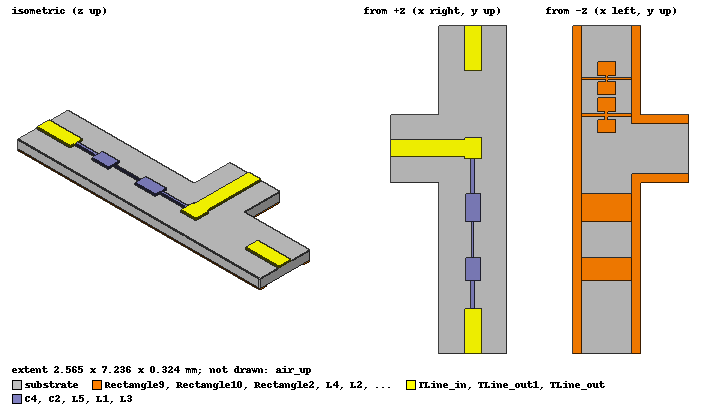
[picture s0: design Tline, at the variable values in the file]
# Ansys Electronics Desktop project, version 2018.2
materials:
  gallium_arsenide: permittivity=12.9
  gold: permeability=0.99996 conductivity=41000000
  vacuum: permittivity=1
  Al_N: permittivity=8.8
  Al2_O3_ceramic: permittivity=9.9 dielectric_loss_tangent=0.002
  copper: permeability=0.999991 conductivity=58000000

design Tline (HFSS, DrivenModal, model units mm)
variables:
  w_sub = 1.5mm
  l_sub = d_L2+w_L2/2+L2_g2+cover_HPF_out+l_line2
  h_sub = 0.254mm
  gap_up_box = 0mm
  h_up_box = 0.25mm
  gap_down_box = 0.2mm
  h_down_box = 0.25mm
  w_line = 0.37mm
  copper = 0.035mm
  l_line1 = 2mm
  l_line2 = 1mm
  l_L5 = 0.35*scale
  l_C4 = 0.28*scale
  l_L3 = 0.36*scale
  l_C2 = 0.23*scale
  l_L1 = 0.28*scale
  w_L4 = 0.07*scale_HPF
  d_L4 = delta_x_HP+gap_TLine1_L4+0.35mm
  L4_g1 = 0.07mm
  L4_g2 = 0.06mm
  L4_g3 = 0.4mm
  L4_g4 = 0.3mm
  d_L2 = d_L4+0.81mm
  w_L2 = 0.04*scale_HPF
  L2_g1 = 0.04mm
  L2_g2 = 0.05mm
  L2_g3 = L4_g3
  L2_g4 = 0.3mm
  gap_TLine1_L4 = 0.2mm
  scale_HPF = 0.8mm
  delta_x_HP = 0.05mm
  l_line3 = 0.04mm
  l_line4 = 1mm
  w_L5 = 0.08mm
  w_C4 = 0.33*scale_w_C
  w_L3 = 0.04mm
  w_C2 = 0.33*scale_w_C
  w_L1 = 0.09mm
  l_sub_LPF = l_line3+l_L5+l_C4+l_L3+l_C2+l_L1+l_line4
  scale = 2.2mm
  delta_cover_HPF = 0.05mm
  cover_HPF_out = 0.1mm
  scale_w_C = 1mm
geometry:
  substrate [Al2_O3_ceramic] = box(corner=(-w_sub/2, l_sub, 0mm), size=(w_sub, -(l_sub+(w_line-delta_x_HP)+l_sub_LPF), -h_sub))
  air_up [vacuum] = box(corner=(-(w_sub+2*gap_up_box)/2, l_sub, -(h_sub+copper)), size=(w_sub+2*gap_up_box, -(l_sub+(w_line-delta_x_HP)+l_sub_LPF), h_up_box+h_sub+copper))
  air_down = box(corner=(-(w_sub-2*gap_down_box)/2, l_sub, -(h_sub+copper)), size=(w_sub-2*gap_down_box, -(l_sub+(w_line-delta_x_HP)+l_sub_LPF), -h_down_box))
  TLine_in [copper] = box(corner=(w_line/2, 0.05mm, 0mm), size=(-l_line1, -w_line, copper))
  Rectangle2 [copper] = rectangle(corner=(w_sub/2, l_sub, -h_sub), x_size=-gap_down_box, y_size=-(l_sub+(w_line-delta_x_HP)+l_sub_LPF))
  air_up.unite(air_down)
  TLine_out [copper] = box(corner=(-w_line/2, d_L2+w_L2/2+L2_g2+cover_HPF_out, 0mm), size=(w_line, l_line2, copper))
  Rectangle2.thicken(-copper)
  L4 [copper] = rectangle(corner=(-(w_sub-gap_down_box*2)/2, d_L4, -h_sub), x_size=w_sub-gap_down_box*2, y_size=w_L4/2)
  Rectangle4 = rectangle(corner=(-L4_g1/2, d_L4+w_L4/2, -h_sub), x_size=L4_g1, y_size=L4_g2)
  Rectangle5 = rectangle(corner=(-L4_g3/2, d_L4+w_L4/2+L4_g2, -h_sub), x_size=L4_g3, y_size=L4_g4)
  L4.unite(Rectangle4, Rectangle5)
  Rectangle3_1 = L4.duplicate_mirror(point=(0mm, d_L4, -h_sub), normal=(0mm, -1mm, 0mm))
  L2 [copper] = rectangle(corner=(-(w_sub-2*gap_down_box)/2, d_L2, -h_sub), x_size=w_sub-2*gap_down_box, y_size=w_L2/2)
  Rectangle7 = rectangle(corner=(-L2_g1/2, d_L2+w_L2/2, -h_sub), x_size=L2_g1, y_size=L2_g2)
  Rectangle8 = rectangle(corner=(-L2_g3/2, d_L2+w_L2/2+L2_g2, -h_sub), x_size=L2_g3, y_size=L2_g4)
  L2.unite(Rectangle7, Rectangle8)
  Rectangle6_1 = L2.duplicate_mirror(point=(0mm, d_L2, -h_sub), normal=(0mm, -1mm, 0mm))
  L4.unite(Rectangle3_1)
  L2.unite(Rectangle6_1)
  [L4, L2].thicken(-copper)
  coordinate_system RelativeCS1 = origin=(0mm, -(w_line-delta_x_HP), 0mm) x=(-1mm, 0mm, 0mm) y=(0mm, -1mm, 0mm)
  L5 [copper] = box(corner=(-w_L5/2, l_line3, 0mm), size=(w_L5, l_L5, copper)) in RelativeCS1
  C4 [copper] = box(corner=(-w_C4/2, l_line3+l_L5, 0mm), size=(w_C4, l_C4, copper)) in RelativeCS1
  L3 [copper] = box(corner=(-w_L3/2, l_line3+l_L5+l_C4, 0mm), size=(w_L3, l_L3, copper)) in RelativeCS1
  C2 [copper] = box(corner=(-w_C2/2, l_line3+l_L5+l_C4+l_L3, 0mm), size=(w_C2, l_C2, copper)) in RelativeCS1
  L1 [copper] = box(corner=(-w_L1/2, l_line3+l_L5+l_C4+l_L3+l_C2, 0mm), size=(w_L1, l_L1, copper)) in RelativeCS1
  TLine_out1 [copper] = box(corner=(-w_line/2, l_line3+l_L5+l_C4+l_L3+l_C2+l_L1, 0mm), size=(w_line, l_line4, copper)) in RelativeCS1
  C4_bottom [copper] = box(corner=(-(w_sub-gap_down_box*2)/2, l_line3+l_L5, -h_sub), size=(w_sub-gap_down_box*2, l_C4, -copper)) in RelativeCS1
  C2_bottom [copper] = box(corner=(-(w_sub-gap_down_box*2)/2, l_line3+l_L5+l_C4+l_L3, -h_sub), size=(w_sub-gap_down_box*2, l_C2, -copper)) in RelativeCS1
  coordinate_system RelativeCS2 = origin=(-w_line/2, -w_line/2, 0mm) x=(1mm, 0mm, 0mm) y=(0mm, 1mm, 0mm) in RelativeCS1
  sub_in = box(corner=(0, w_sub/2, 0mm), size=(l_line1, -w_sub, -h_sub)) in RelativeCS2
  substrate.unite(sub_in)
  Rectangle9 [copper] = rectangle(corner=(l_line1, w_sub/2, -h_sub), x_size=-(l_line1-w_sub/2-w_line/2), y_size=-gap_down_box) in RelativeCS2
  Rectangle10 [copper] = rectangle(corner=(l_line1, -w_sub/2, -h_sub), x_size=-(l_line1-w_sub/2-w_line/2), y_size=gap_down_box) in RelativeCS2
  Rectangle11 = rectangle(corner=(w_sub/2+w_line/2, w_sub/2-gap_down_box, -h_sub), x_size=-gap_down_box, y_size=l_sub_LPF-(w_sub/2-gap_down_box-w_line/2)) in RelativeCS2
  Rectangle12 = rectangle(corner=(w_sub/2+w_line/2, -(w_sub/2-gap_down_box), -h_sub), x_size=-gap_down_box, y_size=-(l_sub-delta_x_HP-(w_sub/2-gap_down_box-w_line/2))) in RelativeCS2
  Rectangle10.unite(Rectangle12)
  Rectangle9.unite(Rectangle11)
  Rectangle10.thicken(copper)
  Rectangle9.thicken(-copper)
  air_in1 = box(corner=(0, w_sub/2, -(h_sub+copper)), size=(l_line1, -w_sub, h_sub+copper+h_up_box)) in RelativeCS2
  air_in2 = box(corner=(0, -(w_sub-2*gap_down_box)/2, -(h_sub+copper+h_down_box)), size=(l_line1, w_sub-2*gap_down_box, h_down_box)) in RelativeCS2
  air_in1.unite(air_in2)
  air_up.unite(air_in1)
  Box1 = box(corner=(0mm, -w_line/2, 0mm), size=(w_line, -delta_cover_HPF, copper)) in RelativeCS2
  Box2 = box(corner=(0mm, w_line/2, 0mm), size=(w_line, l_line3, copper)) in RelativeCS2
  TLine_in.unite(Box1, Box2)
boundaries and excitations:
  1: Wave Port Faces=air_up.face(6 of 6) NumModes=1 Modes{Mode1{IntLine{middle of TLine_in.edge(3 of 12) -> middle of air_up.edge(5 of 12)} CharImp=Zpi}}
  2: Wave Port Faces=air_up.face(+y) NumModes=1 Modes{Mode1{IntLine{middle of TLine_out.edge(2 of 12) -> middle of air_up.edge(8 of 12)} CharImp=Zpi}}
  3: Wave Port Faces=air_up.face(-y) NumModes=1 Modes{Mode1{IntLine{middle of TLine_out1.edge(2 of 12) -> middle of air_up.edge(6 of 12)} CharImp=Zpi}}
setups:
  Setup1: HfssDriven AdaptMultipleFreqs MultipleAdaptiveFreqsSetup{Broadband{Low=10GHz High=50GHz}} MaxDeltaS=0.02 MaximumPasses=8 MinimumPasses=1 MinimumConvergedPasses=1 PercentRefinement=30 BasisOrder=1 PortAccuracy=2
    sweep Sweep: 10GHz to 50GHz, 451 points; Type=Interpolating InterpTolerance=0.5 InterpMaxSolns=250 InterpUsePortImped=false PassivityErrorTolerance=0.0001
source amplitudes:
  1:1: 1W 0deg
  2:1, 3:1: 0W 0deg
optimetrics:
  ParametricSetup1: Parametric disabled Sim._Setups=[Setup1]
    sweep scale: LIN 1.2mm 1.6mm 0.2mm
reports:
  S Parameter Plot 1: dB(S(1,1)), dB(S(2,1)), dB(S(3,1)) vs Freq on Setup1 : Sweep; markers MX1 at x=2.8503401e+10, MX2 at x=2.2244898e+10, MX3 at x=3.9199372e+10
  S Parameter Chart 1: S(3,1), S(2,1) on Setup1 : Sweep [Freq=all]
  Port Zo Plot 1: re(Zo(1)), re(Zo(2)), re(Zo(3)) vs Freq on Setup1 : Sweep
  S Parameter Plot 2: dB(S(2,1)), dB(S(3,1)) vs Freq on Setup1 : Sweep
  S Parameter Plot 3: dB(S(3,1)), dB(S(2,1)), dB(S(1,1)) vs Freq on Setup1 : Sweep
